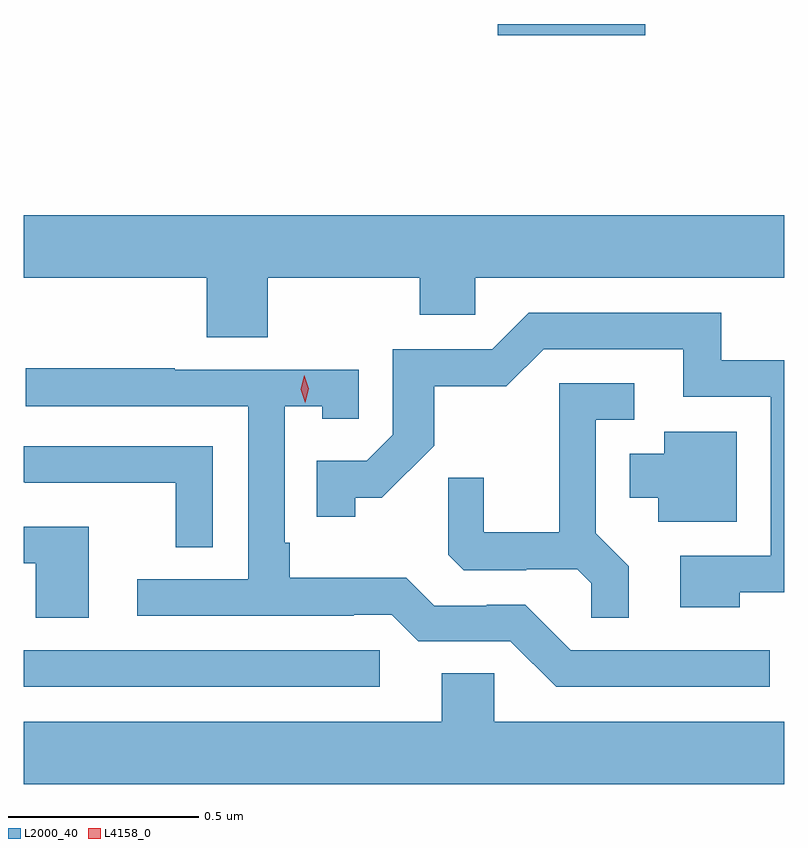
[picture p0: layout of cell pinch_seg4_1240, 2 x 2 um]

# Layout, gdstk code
import gdstk
lib = gdstk.Library(unit=1e-6, precision=1e-09)
def R(c, l, rs):  # rectangles x0, y0, x1, y1
    for r in rs: c.add(gdstk.rectangle(r[:2], r[2:], *l))
def P(c, l, *ps):  # polygons
    for p in ps: c.add(gdstk.Polygon(p, *l))
L2000_40 = (2000, 40)
L4158_0 = (4158, 0)

pinch_seg4_1240 = lib.new_cell('pinch_seg4_1240')
R(pinch_seg4_1240, L2000_40, [(375.886,823.716,376.822,823.812), (377.132,825.43,377.521,825.459)])
P(pinch_seg4_1240, L2000_40, [(376.527,824.792),(376.927,824.792),(376.927,824.694),(377.073,824.694),(377.073,824.792),(377.886,824.792),(377.886,824.956),(375.886,824.956),(375.886,824.792),(376.367,824.792),(376.367,824.635),(376.527,824.635)],
  [(377.769,823.965),(377.886,823.965),(377.886,824.574),(377.72,824.574),(377.72,824.7),(377.214,824.7),(377.118,824.604),(376.857,824.604),(376.857,824.379),(376.788,824.31),(376.657,824.31),(376.657,824.163),(376.758,824.163),(376.758,824.213),(376.828,824.213),(376.966,824.35),(376.966,824.506),(377.155,824.506),(377.253,824.604),(377.621,824.604),(377.621,824.478),(377.85,824.478),(377.85,824.061),(377.613,824.061),(377.613,823.925),(377.769,823.925)],
  [(377.848,823.812),(377.325,823.812),(377.205,823.932),(377.104,823.932),(377.104,823.929),(376.965,823.929),(376.892,824.002),(376.585,824.002),(376.585,824.095),(376.572,824.095),(376.572,824.453),(376.671,824.453),(376.671,824.421),(376.767,824.421),(376.767,824.55),(376.283,824.55),(376.283,824.553),(375.891,824.553),(375.891,824.454),(376.476,824.454),(376.476,823.998),(376.185,823.998),(376.185,823.902),(376.754,823.902),(376.754,823.905),(376.854,823.905),(376.923,823.836),(377.166,823.836),(377.286,823.716),(377.848,823.716)],
  [(377.477,824.033),(377.391,824.119),(377.391,824.418),(377.491,824.418),(377.491,824.514),(377.294,824.514),(377.294,824.122),(377.096,824.122),(377.096,824.265),(377.002,824.265),(377.002,824.063),(377.043,824.022),(377.208,824.022),(377.208,824.025),(377.342,824.025),(377.379,823.988),(377.379,823.897),(377.477,823.897)],
  [(377.761,824.386),(377.57,824.386),(377.57,824.329),(377.48,824.329),(377.48,824.213),(377.555,824.213),(377.555,824.15),(377.761,824.15)],
  [(376.383,824.349),(375.886,824.349),(375.886,824.254),(375.889,824.254),(375.889,824.253),(376.285,824.253),(376.285,824.083),(376.383,824.083)],
  [(376.057,824.136),(375.886,824.136),(375.886,824.04),(375.917,824.04),(375.917,823.897),(376.057,823.897)],
  [(377.886,823.624),(377.124,823.624),(377.124,823.751),(376.985,823.751),(376.985,823.624),(375.886,823.624),(375.886,823.46),(377.886,823.46)])
P(pinch_seg4_1240, L4158_0, [(376.626,824.463),(376.626,824.463),(376.615,824.498),(376.623,824.535),(376.623,824.535),(376.624,824.535),(376.635,824.499),(376.626,824.463)])

lib.write_gds('pinch_seg4_1240.gds')
